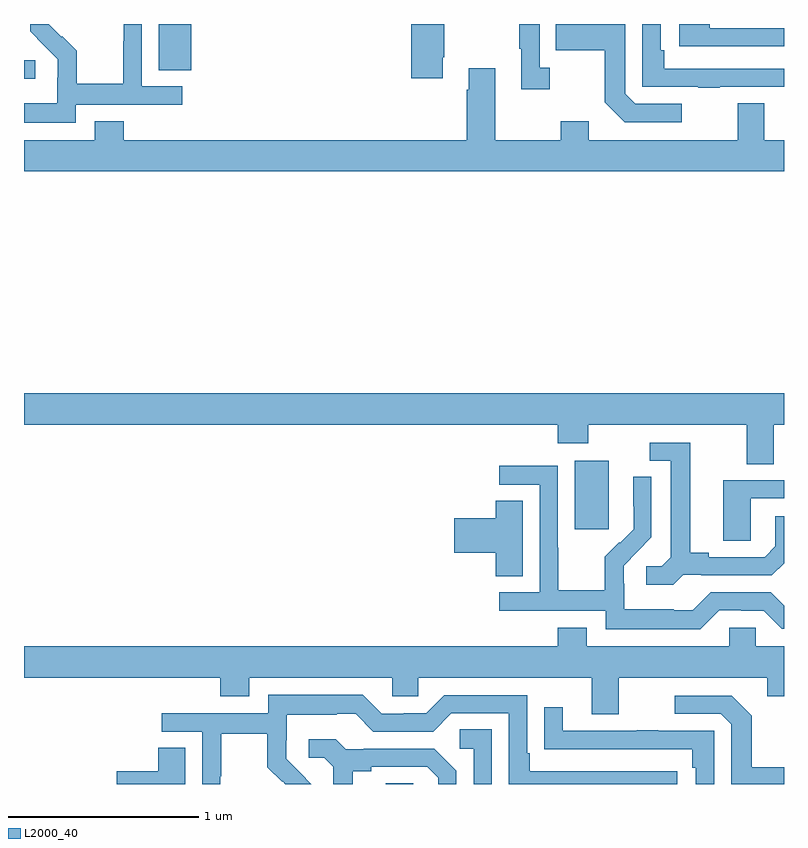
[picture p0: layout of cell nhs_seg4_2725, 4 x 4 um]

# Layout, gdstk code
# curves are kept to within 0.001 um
import gdstk
lib = gdstk.Library(unit=1e-6, precision=1e-09)
def R(c, l, rs):  # rectangles x0, y0, x1, y1
    for r in rs: c.add(gdstk.rectangle(r[:2], r[2:], *l))
def P(c, l, *ps):  # polygons
    for p in ps: c.add(gdstk.Polygon(p, *l))
L2000_40 = (2000, 40)

nhs_seg4_2725 = lib.new_cell('nhs_seg4_2725')
R(nhs_seg4_2725, L2000_40, [(254.903,822.9,255.048,822.905), (255.899,824.241,256.078,824.602), (253,826.613,253.06,826.71), (253.709,826.657,253.88,826.9)])
P(nhs_seg4_2725, L2000_40, [(255.766,826.67),(255.714,826.67),(255.714,826.9),(255.606,826.9),(255.606,826.769),(255.617,826.769),(255.617,826.557),(255.766,826.557)],
  [(256.462,826.479),(256.218,826.479),(256.164,826.533),(256.164,826.9),(255.799,826.9),(255.799,826.762),(256.056,826.762),(256.056,826.489),(256.161,826.383),(256.462,826.383)],
  [(253.272,826.476),(253.834,826.476),(253.834,826.572),(253.62,826.572),(253.62,826.9),(253.524,826.9),(253.524,826.808),(253.522,826.808),(253.522,826.585),(253.277,826.585),(253.277,826.759),(253.2,826.836),(253.197,826.833),(253.131,826.9),(253.032,826.9),(253.032,826.862),(253.178,826.714),(253.178,826.617),(253.176,826.617),(253.176,826.483),(253,826.483),(253,826.379),(253.272,826.379)],
  [(255.205,826.726),(255.213,826.726),(255.213,826.9),(255.038,826.9),(255.038,826.614),(255.205,826.614)],
  [(257,826.878),(256.61,826.878),(256.61,826.9),(256.449,826.9),(256.449,826.782),(257,826.782)],
  [(256.661,826.569),(257,826.569),(257,826.665),(256.37,826.665),(256.37,826.762),(256.35,826.762),(256.35,826.9),(256.254,826.9),(256.254,826.569),(256.549,826.569),(256.549,826.564),(256.661,826.564)],
  [(257,826.288),(256.897,826.288),(256.897,826.483),(256.757,826.483),(256.757,826.288),(255.973,826.288),(255.973,826.387),(255.826,826.387),(255.826,826.288),(255.481,826.288),(255.481,826.666),(255.341,826.666),(255.341,826.553),(255.329,826.553),(255.329,826.288),(253.526,826.288),(253.526,826.387),(253.373,826.387),(253.373,826.288),(253,826.288),(253,826.124),(257,826.124)],
  [(256.945,824.792),(257,824.792),(257,824.956),(253,824.956),(253,824.792),(255.809,824.792),(255.809,824.693),(255.969,824.693),(255.969,824.792),(256.805,824.792),(256.805,824.584),(256.945,824.584)],
  [(256.47,824.001),(256.564,824.001),(256.564,823.998),(256.936,823.998),(257,824.062),(257,824.308),(256.955,824.308),(256.955,824.151),(256.898,824.094),(256.603,824.094),(256.603,824.117),(256.507,824.117),(256.507,824.697),(256.293,824.697),(256.293,824.601),(256.403,824.601),(256.403,824.093),(256.356,824.046),(256.275,824.046),(256.275,823.949),(256.418,823.949)],
  [(256.659,823.815),(256.775,823.815),(256.775,823.812),(256.893,823.812),(256.989,823.716),(257,823.716),(257,823.837),(256.929,823.908),(256.614,823.908),(256.521,823.815),(256.421,823.815),(256.421,823.819),(256.158,823.819),(256.158,823.953),(256.156,823.953),(256.156,824.05),(256.302,824.198),(256.302,824.516),(256.206,824.516),(256.206,824.362),(256.208,824.362),(256.208,824.24),(256.137,824.169),(256.134,824.172),(256.057,824.095),(256.057,823.921),(255.813,823.921),(255.813,824.144),(255.81,824.144),(255.81,824.574),(255.501,824.574),(255.501,824.475),(255.714,824.475),(255.714,823.908),(255.501,823.908),(255.501,823.812),(256.062,823.812),(256.062,823.715),(256.559,823.715)],
  [(256.824,824.403),(257,824.403),(257,824.499),(256.679,824.499),(256.679,824.179),(256.824,824.179)],
  [(255.625,824.39),(255.482,824.39),(255.482,824.3),(255.264,824.3),(255.264,824.117),(255.482,824.117),(255.482,823.993),(255.625,823.993)],
  [(256.129,823.46),(256.913,823.46),(256.913,823.361),(257,823.361),(257,823.624),(256.851,823.624),(256.851,823.722),(256.713,823.722),(256.713,823.624),(255.961,823.624),(255.961,823.723),(255.809,823.723),(255.809,823.624),(253,823.624),(253,823.46),(254.033,823.46),(254.033,823.361),(254.185,823.361),(254.185,823.46),(254.937,823.46),(254.937,823.362),(255.075,823.362),(255.075,823.46),(255.989,823.46),(255.989,823.266),(256.129,823.266)],
  [(254.034,822.94),(254.037,822.94),(254.037,823.164),(254.281,823.164),(254.281,822.989),(254.358,822.912),(254.361,822.915),(254.376,822.9),(254.512,822.9),(254.38,823.034),(254.38,823.131),(254.382,823.131),(254.382,823.265),(254.645,823.265),(254.645,823.269),(254.745,823.269),(254.838,823.176),(255.153,823.176),(255.249,823.272),(255.552,823.272),(255.552,822.9),(256.438,822.9),(256.438,822.966),(255.661,822.966),(255.661,823.063),(255.648,823.063),(255.648,823.368),(255.213,823.368),(255.117,823.272),(254.999,823.272),(254.999,823.269),(254.883,823.269),(254.783,823.369),(254.286,823.369),(254.286,823.272),(253.725,823.272),(253.725,823.176),(253.938,823.176),(253.938,822.9),(254.034,822.9)],
  [(257,822.987),(256.831,822.987),(256.831,823.259),(256.725,823.365),(256.425,823.365),(256.425,823.269),(256.668,823.269),(256.722,823.215),(256.722,822.9),(257,822.9)],
  [(256.632,823.179),(256.337,823.179),(256.337,823.184),(256.225,823.184),(256.225,823.179),(255.835,823.179),(255.835,823.303),(255.739,823.303),(255.739,823.084),(255.841,823.084),(255.841,823.083),(256.516,823.083),(256.516,822.986),(256.536,822.986),(256.536,822.9),(256.632,822.9)],
  [(255.462,823.187),(255.294,823.187),(255.294,823.086),(255.366,823.086),(255.366,822.9),(255.462,822.9)],
  [(254.731,822.968),(254.827,822.968),(254.827,822.99),(255.122,822.99),(255.179,822.933),(255.179,822.9),(255.276,822.9),(255.276,822.97),(255.16,823.086),(254.788,823.086),(254.788,823.083),(254.694,823.083),(254.642,823.135),(254.499,823.135),(254.499,823.038),(254.58,823.038),(254.627,822.991),(254.627,822.9),(254.731,822.9)],
  [(253.849,823.091),(253.706,823.091),(253.706,822.968),(253.488,822.968),(253.488,822.9),(253.849,822.9)])

lib.write_gds('nhs_seg4_2725.gds')
